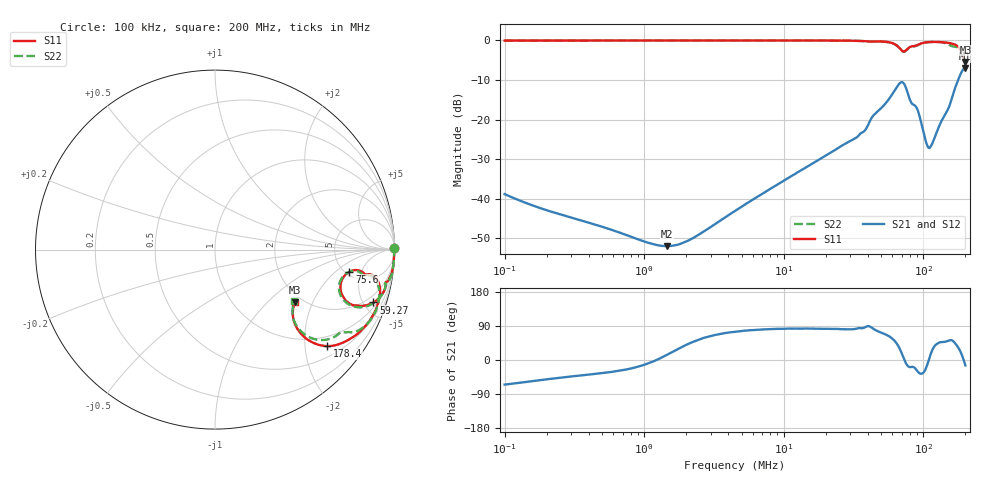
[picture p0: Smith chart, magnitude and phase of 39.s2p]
#  HZ  S  RI  R  50.00
! Rohde & Schwarz Vector Network Analyzer
! Rohde-Schwarz,ZNLE6-2Port,1323001256200024,1.71.1.10-23.02.1.238
! Created: UTC 4/7/2025, 3:49:43 AM
! freq[Hz]  re:S11  im:S11  re:S21  im:S21  re:S12  im:S12  re:S22  im:S22
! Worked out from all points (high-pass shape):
!   1001 points, 100 kHz to 200 MHz, reference 50 ohm
!   highest |S21| = -7.08 dB at 198.5 MHz (marker M1); lowest = -52.0 dB at 1.463 MHz (marker M2)
!   |S21| within 3 dB of the highest: 177.1 MHz to end of sweep
!   lowest |S11| = -5.5 dB at 200 MHz (marker M3), VSWR 3.28, Z = 90.5 - j74.5 ohm
!   |S11| at or under -10 dB: nowhere
!   |S22| runs from -5.6 to 0.0 dB; largest |S21 - S12| = 0.011
!   S11 on the Smith chart (normalised r, x): 100 kHz: open; 59.27 MHz: 1.34, -5.85; 75.6 MHz: 5.43, -3.16; 178.4 MHz: 0.75, -2.50; 200 MHz: 1.81, -1.49
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100000  0.9953 0.0101  0.00483 -0.0103  0.00484 -0.0104  0.9953 0.0101
355854.1  0.996 0.0025  0.00401 -0.00343  0.00402 -0.00344  0.9962 0.00248
1266322  0.9974 -0.00328  0.00256 0.000113  0.00257 0.000107  0.9976 -0.00346
1463065  0.9975 -0.0043  0.00243 0.000609  0.00244 0.00061  0.9976 -0.00443
2155838  0.9978 -0.00756  0.00215 0.00218  0.00215 0.00218  0.9979 -0.00781
4472136  0.9979 -0.0186  0.00184 0.00674  0.00191 0.00671  0.9984 -0.0183
1.591428e7  0.9953 -0.0678  0.00345 0.0274  0.00368 0.0273  0.9956 -0.0697
3.728227e7  0.9661 -0.1713  0.00635 0.0699  0.00728 0.0694  0.9652 -0.1789
4.340332e7  0.9523 -0.1874  0.0127 0.1094  0.0162 0.1089  0.9491 -0.1903
5.663162e7  0.906 -0.2774  0.0825 0.1612  0.0859 0.1584  0.9027 -0.2831
5.927413e7  0.8818 -0.2947  0.1084 0.1723  0.1095 0.1709  0.8767 -0.3022
6.900583e7  0.7163 -0.2661  0.2715 0.1149  0.2738 0.1084  0.7089 -0.2711
7.559589e7  0.7493 -0.1231  0.238 -0.0449  0.2371 -0.051  0.7413 -0.1265
8.156587e7  0.827 -0.129  0.157 -0.0526  0.1558 -0.0572  0.8181 -0.135
9.072414e7  0.8637 -0.1377  0.1157 -0.066  0.1146 -0.0694  0.8551 -0.1415
1.048196e8  0.9196 -0.2204  0.0479 -0.0174  0.0477 -0.0185  0.915 -0.2308
1.105477e8  0.9178 -0.2552  0.0434 0.00475  0.0437 0.00395  0.9142 -0.2686
1.326705e8  0.8784 -0.3687  0.0617 0.0661  0.0617 0.0643  0.8647 -0.3943
1.544525e8  0.8002 -0.4641  0.0936 0.1205  0.0954 0.1177  0.7401 -0.4596
1.784492e8  0.6252 -0.5376  0.2753 0.1709  0.2788 0.1619  0.612 -0.5029
1.984856e8  0.4355 -0.3252  0.4352 -0.0807  0.4362 -0.0919  0.4341 -0.3154
2e8  0.4444 -0.2944  0.4265 -0.1101  0.4266 -0.1213  0.4408 -0.2884
